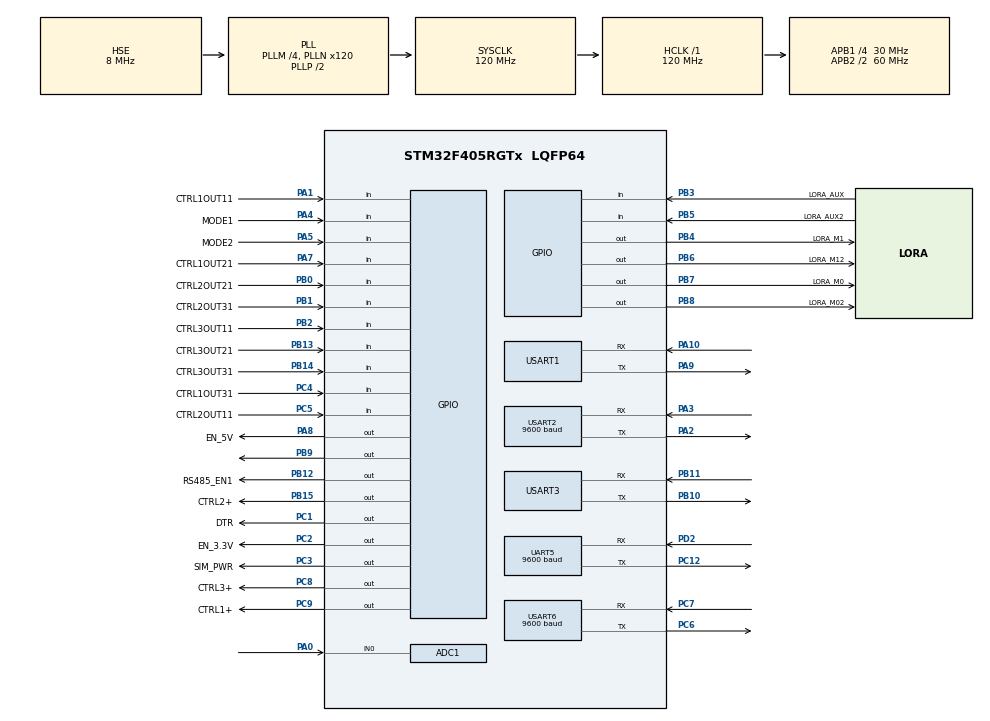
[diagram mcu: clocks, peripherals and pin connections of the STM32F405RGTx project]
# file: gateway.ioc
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ADC1.Channel-0\#ChannelRegularConversion=ADC_CHANNEL_0
ADC1.DiscontinuousConvMode=ENABLE
ADC1.NbrOfConversionFlag=1
ADC1.Rank-0\#ChannelRegularConversion=1
ADC1.SamplingTime-0\#ChannelRegularConversion=ADC_SAMPLETIME_84CYCLES
ADC1.ScanConvMode=ENABLE
ADC1.master=1
Dma.Request0=USART1_RX
Dma.Request1=USART2_RX
Dma.Request2=USART3_RX
Dma.Request3=USART6_RX
Dma.Request4=UART5_RX
Dma.UART5_RX.4.Direction=DMA_PERIPH_TO_MEMORY
Dma.UART5_RX.4.FIFOMode=DMA_FIFOMODE_DISABLE
Dma.UART5_RX.4.Instance=DMA1_Stream0
Dma.UART5_RX.4.MemDataAlignment=DMA_MDATAALIGN_BYTE
Dma.UART5_RX.4.MemInc=DMA_MINC_ENABLE
Dma.UART5_RX.4.Mode=DMA_NORMAL
Dma.UART5_RX.4.PeriphDataAlignment=DMA_PDATAALIGN_BYTE
Dma.UART5_RX.4.PeriphInc=DMA_PINC_DISABLE
Dma.UART5_RX.4.Priority=DMA_PRIORITY_LOW
Dma.USART1_RX.0.Direction=DMA_PERIPH_TO_MEMORY
Dma.USART1_RX.0.FIFOMode=DMA_FIFOMODE_DISABLE
Dma.USART1_RX.0.Instance=DMA2_Stream2
Dma.USART1_RX.0.MemDataAlignment=DMA_MDATAALIGN_BYTE
Dma.USART1_RX.0.MemInc=DMA_MINC_ENABLE
Dma.USART1_RX.0.Mode=DMA_NORMAL
Dma.USART1_RX.0.PeriphDataAlignment=DMA_PDATAALIGN_BYTE
Dma.USART1_RX.0.PeriphInc=DMA_PINC_DISABLE
Dma.USART1_RX.0.Priority=DMA_PRIORITY_LOW
Dma.USART2_RX.1.Direction=DMA_PERIPH_TO_MEMORY
Dma.USART2_RX.1.FIFOMode=DMA_FIFOMODE_DISABLE
Dma.USART2_RX.1.Instance=DMA1_Stream5
Dma.USART2_RX.1.MemDataAlignment=DMA_MDATAALIGN_BYTE
Dma.USART2_RX.1.MemInc=DMA_MINC_ENABLE
Dma.USART2_RX.1.Mode=DMA_NORMAL
Dma.USART2_RX.1.PeriphDataAlignment=DMA_PDATAALIGN_BYTE
Dma.USART2_RX.1.PeriphInc=DMA_PINC_DISABLE
Dma.USART2_RX.1.Priority=DMA_PRIORITY_LOW
Dma.USART3_RX.2.Direction=DMA_PERIPH_TO_MEMORY
Dma.USART3_RX.2.FIFOMode=DMA_FIFOMODE_DISABLE
Dma.USART3_RX.2.Instance=DMA1_Stream1
Dma.USART3_RX.2.MemDataAlignment=DMA_MDATAALIGN_BYTE
Dma.USART3_RX.2.MemInc=DMA_MINC_ENABLE
Dma.USART3_RX.2.Mode=DMA_NORMAL
Dma.USART3_RX.2.PeriphDataAlignment=DMA_PDATAALIGN_BYTE
Dma.USART3_RX.2.PeriphInc=DMA_PINC_DISABLE
Dma.USART3_RX.2.Priority=DMA_PRIORITY_LOW
Dma.USART6_RX.3.Direction=DMA_PERIPH_TO_MEMORY
Dma.USART6_RX.3.FIFOMode=DMA_FIFOMODE_DISABLE
Dma.USART6_RX.3.Instance=DMA2_Stream1
Dma.USART6_RX.3.MemDataAlignment=DMA_MDATAALIGN_BYTE
Dma.USART6_RX.3.MemInc=DMA_MINC_ENABLE
Dma.USART6_RX.3.Mode=DMA_NORMAL
Dma.USART6_RX.3.PeriphDataAlignment=DMA_PDATAALIGN_BYTE
Dma.USART6_RX.3.PeriphInc=DMA_PINC_DISABLE
Dma.USART6_RX.3.Priority=DMA_PRIORITY_LOW
Mcu.Family=STM32F4
Mcu.Name=STM32F405RGTx
Mcu.Package=LQFP64
NVIC.DMA1_Stream0_IRQn=true\:0\:0\:false\:false\:true\:false\:true
NVIC.DMA1_Stream1_IRQn=true\:0\:0\:false\:false\:true\:false\:true
NVIC.DMA1_Stream5_IRQn=true\:0\:0\:false\:false\:true\:false\:true
NVIC.DMA2_Stream1_IRQn=true\:0\:0\:false\:false\:true\:false\:true
NVIC.DMA2_Stream2_IRQn=true\:0\:0\:false\:false\:true\:false\:true
NVIC.PriorityGroup=NVIC_PRIORITYGROUP_4
NVIC.RTC_WKUP_IRQn=true\:0\:0\:false\:false\:true\:true\:true
NVIC.UART5_IRQn=true\:0\:0\:false\:false\:true\:true\:true
NVIC.USART1_IRQn=true\:0\:0\:false\:false\:true\:true\:true
NVIC.USART2_IRQn=true\:0\:0\:false\:false\:true\:true\:true
NVIC.USART3_IRQn=true\:0\:0\:false\:false\:true\:true\:true
NVIC.USART6_IRQn=true\:0\:0\:false\:false\:true\:true\:true
PA0-WKUP.Signal=ADCx_IN0
PA1.GPIO_Label=CTRL1OUT11
PA1.Signal=GPIO_Input
PA10.Mode=Asynchronous
PA10.Signal=USART1_RX
PA13.Mode=Serial_Wire
PA13.Signal=SYS_JTMS-SWDIO
PA14.Mode=Serial_Wire
PA14.Signal=SYS_JTCK-SWCLK
PA2.Mode=Asynchronous
PA2.Signal=USART2_TX
PA3.Mode=Asynchronous
PA3.Signal=USART2_RX
PA4.GPIO_Label=MODE1
PA4.Signal=GPIO_Input
PA5.GPIO_Label=MODE2
PA5.Signal=GPIO_Input
PA7.GPIO_Label=CTRL1OUT21
PA7.Signal=GPIO_Input
PA8.GPIO_Label=EN_5V
PA8.PinState=GPIO_PIN_SET
PA8.Signal=GPIO_Output
PA9.Mode=Asynchronous
PA9.Signal=USART1_TX
PB0.GPIO_Label=CTRL2OUT21
PB0.Signal=GPIO_Input
PB1.GPIO_Label=CTRL2OUT31
PB1.Signal=GPIO_Input
PB10.Mode=Asynchronous
PB10.Signal=USART3_TX
PB11.Mode=Asynchronous
PB11.Signal=USART3_RX
PB12.GPIO_Label=RS485_EN1
PB12.Signal=GPIO_Output
PB13.GPIO_Label=CTRL3OUT21
PB13.Signal=GPIO_Input
PB14.GPIO_Label=CTRL3OUT31
PB14.Signal=GPIO_Input
PB15.GPIO_Label=CTRL2+
PB15.Signal=GPIO_Output
PB2.GPIO_Label=CTRL3OUT11
PB2.Signal=GPIO_Input
PB3.GPIO_Label=LORA_AUX
PB3.GPIO_PuPd=GPIO_PULLUP
PB3.Signal=GPIO_Input
PB4.GPIO_Label=LORA_M1
PB4.PinState=GPIO_PIN_SET
PB4.Signal=GPIO_Output
PB5.GPIO_Label=LORA_AUX2
PB5.GPIO_PuPd=GPIO_PULLUP
PB5.Signal=GPIO_Input
PB6.GPIO_Label=LORA_M12
PB6.PinState=GPIO_PIN_SET
PB6.Signal=GPIO_Output
PB7.GPIO_Label=LORA_M0
PB7.PinState=GPIO_PIN_SET
PB7.Signal=GPIO_Output
PB8.GPIO_Label=LORA_M02
PB8.PinState=GPIO_PIN_SET
PB8.Signal=GPIO_Output
PB9.Signal=GPIO_Output
PC1.GPIO_Label=DTR
PC1.Signal=GPIO_Output
PC12.Mode=Asynchronous
PC12.Signal=UART5_TX
PC14-OSC32_IN.Mode=LSE-External-Oscillator
PC14-OSC32_IN.Signal=RCC_OSC32_IN
PC15-OSC32_OUT.Mode=LSE-External-Oscillator
PC15-OSC32_OUT.Signal=RCC_OSC32_OUT
PC2.GPIO_Label=EN_3.3V
PC2.PinState=GPIO_PIN_SET
PC2.Signal=GPIO_Output
PC3.GPIO_Label=SIM_PWR
PC3.PinState=GPIO_PIN_RESET
PC3.Signal=GPIO_Output
PC4.GPIO_Label=CTRL1OUT31
PC4.Signal=GPIO_Input
PC5.GPIO_Label=CTRL2OUT11
PC5.Signal=GPIO_Input
PC6.Mode=Asynchronous
PC6.Signal=USART6_TX
PC7.Mode=Asynchronous
PC7.Signal=USART6_RX
PC8.GPIO_Label=CTRL3+
PC8.Signal=GPIO_Output
PC9.GPIO_Label=CTRL1+
PC9.Signal=GPIO_Output
PD2.Mode=Asynchronous
PD2.Signal=UART5_RX
PH0-OSC_IN.Mode=HSE-External-Oscillator
PH0-OSC_IN.Signal=RCC_OSC_IN
PH1-OSC_OUT.Mode=HSE-External-Oscillator
PH1-OSC_OUT.Signal=RCC_OSC_OUT
ProjectManager.HeapSize=0x200
ProjectManager.StackSize=0x400
ProjectManager.TargetToolchain=MDK-ARM V5.27
RCC.48MHZClocksFreq_Value=60000000
RCC.AHBFreq_Value=120000000
RCC.APB1CLKDivider=RCC_HCLK_DIV4
RCC.APB1Freq_Value=30000000
RCC.APB1TimFreq_Value=60000000
RCC.APB2CLKDivider=RCC_HCLK_DIV2
RCC.APB2Freq_Value=60000000
RCC.APB2TimFreq_Value=120000000
RCC.CortexFreq_Value=120000000
RCC.HCLKFreq_Value=120000000
RCC.HSE_VALUE=8000000
RCC.HSI_VALUE=16000000
RCC.PLLM=4
RCC.PLLN=120
RCC.PLLSourceVirtual=RCC_PLLSOURCE_HSE
RCC.RCC_RTC_Clock_Source=RCC_RTCCLKSOURCE_LSE
RCC.RCC_RTC_Clock_SourceVirtual=RCC_RTCCLKSOURCE_LSE
RCC.SYSCLKFreq_VALUE=120000000
RCC.SYSCLKSource=RCC_SYSCLKSOURCE_PLLCLK
RCC.VCOOutputFreq_Value=240000000
RTC.SynchPrediv=0x7fff
RTC.WakeUpClock=RTC_WAKEUPCLOCK_CK_SPRE_17BITS
RTC.WakeUpCounter=1
SH.ADCx_IN0.0=ADC1_IN0,IN0
UART5.BaudRate=9600
UART5.VirtualMode=Asynchronous
USART1.VirtualMode=VM_ASYNC
USART2.BaudRate=9600
USART2.VirtualMode=VM_ASYNC
USART3.VirtualMode=VM_ASYNC
USART6.BaudRate=9600
USART6.VirtualMode=VM_ASYNC
VP_RTC_VS_RTC_Activate.Mode=RTC_Enabled
VP_RTC_VS_RTC_WakeUp_intern.Mode=WakeUp
board=custom

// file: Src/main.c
/* USER CODE BEGIN Header */
/**
  ******************************************************************************
  * @file           : main.c
  * @brief          : Main program body
  ******************************************************************************
  * @attention
  *
  * <h2><center>&copy; Copyright (c) 2020 STMicroelectronics.
  * All rights reserved.</center></h2>
  *
  * This software component is licensed by ST under BSD 3-Clause license,
  * the "License"; You may not use this file except in compliance with the
  * License. You may obtain a copy of the License at:
  *                        opensource.org/licenses/BSD-3-Clause
  *
  ******************************************************************************
  */
/* USER CODE END Header */

#include "main.h"

/* USER CODE BEGIN Includes */
#include "loraHAL.h"
#include "loraHW.h"
#include "nbiotHW.h"
#include "sensor.h"
#include "rtc.h"
#include "gps.h"
#include "loraHW.h"
#include "rtc.h"
#include "register.h"
#include "Protocol_C.h"
/* USER CODE END Includes */

ADC_HandleTypeDef hadc1;

RTC_HandleTypeDef hrtc;

UART_HandleTypeDef huart5;
UART_HandleTypeDef huart1;
UART_HandleTypeDef huart2;
UART_HandleTypeDef huart3;
UART_HandleTypeDef huart6;
DMA_HandleTypeDef hdma_uart5_rx;
DMA_HandleTypeDef hdma_usart1_rx;
DMA_HandleTypeDef hdma_usart2_rx;
DMA_HandleTypeDef hdma_usart3_rx;
DMA_HandleTypeDef hdma_usart6_rx;

void SystemClock_Config(void);
static void MX_GPIO_Init(void);
static void MX_DMA_Init(void);
static void MX_ADC1_Init(void);
static void MX_UART5_Init(void);
static void MX_USART1_UART_Init(void);
static void MX_USART2_UART_Init(void);
static void MX_USART3_UART_Init(void);
static void MX_USART6_UART_Init(void);
static void MX_RTC_Init(void);
/* USER CODE BEGIN PFP */
extern loraUart_stru loraUart;
extern  LORAHW_stru lorahw;
/* USER CODE END PFP */

int main(void)
{

  /* MCU Configuration--------------------------------------------------------*/

  /* Reset of all peripherals, Initializes the Flash interface and the Systick. */
  HAL_Init();

  /* Configure the system clock */
  SystemClock_Config();

  /* Initialize all configured peripherals */
  MX_GPIO_Init();
  MX_DMA_Init();
  MX_ADC1_Init();
  MX_UART5_Init();
  MX_USART1_UART_Init();
  MX_USART2_UART_Init();
  MX_USART3_UART_Init();
  MX_USART6_UART_Init();
  MX_RTC_Init();
  /* USER CODE BEGIN 2 */

    gps_uart_Init();
    LoraUartInit();

    ParamsInit();
    RTC_Init();
    ProctocolInit();
    loraModuleInit();
#if DEBUG == 1

#endif
#if DEBUG == 0
    while(loraUart.receivedFlag1 != 1)
        ;
    {
        loraUart.receivedFlag1 = 0;
        lorahw.mode =TransmitMode;
        loraGpioset(&lorahw);
        lorahw.mode =TransmitMode;
    }
		HAL_Delay(5000);
    if(ROLE != GATEWAY)
    {
        //test();
        equipCtrlNbiot();
    }

//	while(gps_powerON()==1)
		;

    wirelessTimoutStart(1);//主动上报模式超时计时标志位
#endif
#if DEBUG == 1
    HAL_Delay(3000);
#endif

    // gps_powerON();

  /* USER CODE END 2 */

  /* Infinite loop */
    while (1)
    {

    /* USER CODE BEGIN 3 */
#if DEBUG == 0
        EquipGateway_Process();

        static  uint32_t tick;
        if(ROLE == GATEWAY)
        {
            if((HAL_GetTick()-tick)>=300)
            {
                tick = HAL_GetTick();
                HAL_GPIO_TogglePin(GPIOB, GPIO_PIN_9);
            }
        }
        else
        {
            if((HAL_GetTick()-tick)>=1000)
            {
                tick = HAL_GetTick();
                HAL_GPIO_TogglePin(GPIOB, GPIO_PIN_9);
            }
        }

#endif
        //#if DEBUG == 1
        //  EnterStop();
        //	 goto start;
        //#endif
    }
  /* USER CODE END 3 */
}

void SystemClock_Config(void)
{
  RCC_OscInitTypeDef RCC_OscInitStruct = {0};
  RCC_ClkInitTypeDef RCC_ClkInitStruct = {0};
  RCC_PeriphCLKInitTypeDef PeriphClkInitStruct = {0};

  /** Configure the main internal regulator output voltage
  */
  __HAL_RCC_PWR_CLK_ENABLE();
  __HAL_PWR_VOLTAGESCALING_CONFIG(PWR_REGULATOR_VOLTAGE_SCALE1);
  /** Initializes the CPU, AHB and APB busses clocks
  */
  RCC_OscInitStruct.OscillatorType = RCC_OSCILLATORTYPE_HSE|RCC_OSCILLATORTYPE_LSE;
  RCC_OscInitStruct.HSEState = RCC_HSE_ON;
  RCC_OscInitStruct.LSEState = RCC_LSE_ON;
  RCC_OscInitStruct.PLL.PLLState = RCC_PLL_ON;
  RCC_OscInitStruct.PLL.PLLSource = RCC_PLLSOURCE_HSE;
  RCC_OscInitStruct.PLL.PLLM = 4;
  RCC_OscInitStruct.PLL.PLLN = 120;
  RCC_OscInitStruct.PLL.PLLP = RCC_PLLP_DIV2;
  RCC_OscInitStruct.PLL.PLLQ = 4;
  if (HAL_RCC_OscConfig(&RCC_OscInitStruct) != HAL_OK)
  {
    Error_Handler();
  }
  /** Initializes the CPU, AHB and APB busses clocks
  */
  RCC_ClkInitStruct.ClockType = RCC_CLOCKTYPE_HCLK|RCC_CLOCKTYPE_SYSCLK
                              |RCC_CLOCKTYPE_PCLK1|RCC_CLOCKTYPE_PCLK2;
  RCC_ClkInitStruct.SYSCLKSource = RCC_SYSCLKSOURCE_PLLCLK;
  RCC_ClkInitStruct.AHBCLKDivider = RCC_SYSCLK_DIV1;
  RCC_ClkInitStruct.APB1CLKDivider = RCC_HCLK_DIV4;
  RCC_ClkInitStruct.APB2CLKDivider = RCC_HCLK_DIV2;

  if (HAL_RCC_ClockConfig(&RCC_ClkInitStruct, FLASH_LATENCY_3) != HAL_OK)
  {
    Error_Handler();
  }
  PeriphClkInitStruct.PeriphClockSelection = RCC_PERIPHCLK_RTC;
  PeriphClkInitStruct.RTCClockSelection = RCC_RTCCLKSOURCE_LSE;
  if (HAL_RCCEx_PeriphCLKConfig(&PeriphClkInitStruct) != HAL_OK)
  {
    Error_Handler();
  }
}

static void MX_ADC1_Init(void)
{

  ADC_ChannelConfTypeDef sConfig = {0};

  /** Configure the global features of the ADC (Clock, Resolution, Data Alignment and number of conversion)
  */
  hadc1.Instance = ADC1;
  hadc1.Init.ClockPrescaler = ADC_CLOCK_SYNC_PCLK_DIV2;
  hadc1.Init.Resolution = ADC_RESOLUTION_12B;
  hadc1.Init.ScanConvMode = ENABLE;
  hadc1.Init.ContinuousConvMode = DISABLE;
  hadc1.Init.DiscontinuousConvMode = ENABLE;
  hadc1.Init.NbrOfDiscConversion = 1;
  hadc1.Init.ExternalTrigConvEdge = ADC_EXTERNALTRIGCONVEDGE_NONE;
  hadc1.Init.ExternalTrigConv = ADC_SOFTWARE_START;
  hadc1.Init.DataAlign = ADC_DATAALIGN_RIGHT;
  hadc1.Init.NbrOfConversion = 1;
  hadc1.Init.DMAContinuousRequests = DISABLE;
  hadc1.Init.EOCSelection = ADC_EOC_SINGLE_CONV;
  if (HAL_ADC_Init(&hadc1) != HAL_OK)
  {
    Error_Handler();
  }
  /** Configure for the selected ADC regular channel its corresponding rank in the sequencer and its sample time.
  */
  sConfig.Channel = ADC_CHANNEL_0;
  sConfig.Rank = 1;
  sConfig.SamplingTime = ADC_SAMPLETIME_84CYCLES;
  if (HAL_ADC_ConfigChannel(&hadc1, &sConfig) != HAL_OK)
  {
    Error_Handler();
  }

}

static void MX_RTC_Init(void)
{

  RTC_TimeTypeDef sTime = {0};
  RTC_DateTypeDef sDate = {0};

  /** Initialize RTC Only
  */
  hrtc.Instance = RTC;
  hrtc.Init.HourFormat = RTC_HOURFORMAT_24;
  hrtc.Init.AsynchPrediv = 127;
  hrtc.Init.SynchPrediv = 0x7fff;
  hrtc.Init.OutPut = RTC_OUTPUT_DISABLE;
  hrtc.Init.OutPutPolarity = RTC_OUTPUT_POLARITY_HIGH;
  hrtc.Init.OutPutType = RTC_OUTPUT_TYPE_OPENDRAIN;
  if (HAL_RTC_Init(&hrtc) != HAL_OK)
  {
    Error_Handler();
  }

  /** Initialize RTC and set the Time and Date
  */
  sTime.Hours = 0x0;
  sTime.Minutes = 0x0;
  sTime.Seconds = 0x0;
  sTime.DayLightSaving = RTC_DAYLIGHTSAVING_NONE;
  sTime.StoreOperation = RTC_STOREOPERATION_RESET;
  if (HAL_RTC_SetTime(&hrtc, &sTime, RTC_FORMAT_BCD) != HAL_OK)
  {
    Error_Handler();
  }
  sDate.WeekDay = RTC_WEEKDAY_MONDAY;
  sDate.Month = RTC_MONTH_JANUARY;
  sDate.Date = 0x1;
  sDate.Year = 0x0;

  if (HAL_RTC_SetDate(&hrtc, &sDate, RTC_FORMAT_BCD) != HAL_OK)
  {
    Error_Handler();
  }
  /** Enable the WakeUp
  */
  if (HAL_RTCEx_SetWakeUpTimer_IT(&hrtc, 1, RTC_WAKEUPCLOCK_CK_SPRE_17BITS) != HAL_OK)
  {
    Error_Handler();
  }

}

static void MX_UART5_Init(void)
{

  huart5.Instance = UART5;
  huart5.Init.BaudRate = 9600;
  huart5.Init.WordLength = UART_WORDLENGTH_8B;
  huart5.Init.StopBits = UART_STOPBITS_1;
  huart5.Init.Parity = UART_PARITY_NONE;
  huart5.Init.Mode = UART_MODE_TX_RX;
  huart5.Init.HwFlowCtl = UART_HWCONTROL_NONE;
  huart5.Init.OverSampling = UART_OVERSAMPLING_16;
  if (HAL_UART_Init(&huart5) != HAL_OK)
  {
    Error_Handler();
  }

}

static void MX_USART1_UART_Init(void)
{

  huart1.Instance = USART1;
  huart1.Init.BaudRate = 115200;
  huart1.Init.WordLength = UART_WORDLENGTH_8B;
  huart1.Init.StopBits = UART_STOPBITS_1;
  huart1.Init.Parity = UART_PARITY_NONE;
  huart1.Init.Mode = UART_MODE_TX_RX;
  huart1.Init.HwFlowCtl = UART_HWCONTROL_NONE;
  huart1.Init.OverSampling = UART_OVERSAMPLING_16;
  if (HAL_UART_Init(&huart1) != HAL_OK)
  {
    Error_Handler();
  }

}

static void MX_USART2_UART_Init(void)
{

  huart2.Instance = USART2;
  huart2.Init.BaudRate = 9600;
  huart2.Init.WordLength = UART_WORDLENGTH_8B;
  huart2.Init.StopBits = UART_STOPBITS_1;
  huart2.Init.Parity = UART_PARITY_NONE;
  huart2.Init.Mode = UART_MODE_TX_RX;
  huart2.Init.HwFlowCtl = UART_HWCONTROL_NONE;
  huart2.Init.OverSampling = UART_OVERSAMPLING_16;
  if (HAL_UART_Init(&huart2) != HAL_OK)
  {
    Error_Handler();
  }

}

static void MX_USART3_UART_Init(void)
{

  huart3.Instance = USART3;
  huart3.Init.BaudRate = 115200;
  huart3.Init.WordLength = UART_WORDLENGTH_8B;
  huart3.Init.StopBits = UART_STOPBITS_1;
  huart3.Init.Parity = UART_PARITY_NONE;
  huart3.Init.Mode = UART_MODE_TX_RX;
  huart3.Init.HwFlowCtl = UART_HWCONTROL_NONE;
  huart3.Init.OverSampling = UART_OVERSAMPLING_16;
  if (HAL_UART_Init(&huart3) != HAL_OK)
  {
    Error_Handler();
  }

}

static void MX_USART6_UART_Init(void)
{

  huart6.Instance = USART6;
  huart6.Init.BaudRate = 9600;
  huart6.Init.WordLength = UART_WORDLENGTH_8B;
  huart6.Init.StopBits = UART_STOPBITS_1;
  huart6.Init.Parity = UART_PARITY_NONE;
  huart6.Init.Mode = UART_MODE_TX_RX;
  huart6.Init.HwFlowCtl = UART_HWCONTROL_NONE;
  huart6.Init.OverSampling = UART_OVERSAMPLING_16;
  if (HAL_UART_Init(&huart6) != HAL_OK)
  {
    Error_Handler();
  }

}

static void MX_DMA_Init(void)
{

  /* DMA controller clock enable */
  __HAL_RCC_DMA2_CLK_ENABLE();
  __HAL_RCC_DMA1_CLK_ENABLE();

  /* DMA interrupt init */
  /* DMA1_Stream0_IRQn interrupt configuration */
  HAL_NVIC_SetPriority(DMA1_Stream0_IRQn, 0, 0);
  HAL_NVIC_EnableIRQ(DMA1_Stream0_IRQn);
  /* DMA1_Stream1_IRQn interrupt configuration */
  HAL_NVIC_SetPriority(DMA1_Stream1_IRQn, 0, 0);
  HAL_NVIC_EnableIRQ(DMA1_Stream1_IRQn);
  /* DMA1_Stream5_IRQn interrupt configuration */
  HAL_NVIC_SetPriority(DMA1_Stream5_IRQn, 0, 0);
  HAL_NVIC_EnableIRQ(DMA1_Stream5_IRQn);
  /* DMA2_Stream1_IRQn interrupt configuration */
  HAL_NVIC_SetPriority(DMA2_Stream1_IRQn, 0, 0);
  HAL_NVIC_EnableIRQ(DMA2_Stream1_IRQn);
  /* DMA2_Stream2_IRQn interrupt configuration */
  HAL_NVIC_SetPriority(DMA2_Stream2_IRQn, 0, 0);
  HAL_NVIC_EnableIRQ(DMA2_Stream2_IRQn);

}

static void MX_GPIO_Init(void)
{
  GPIO_InitTypeDef GPIO_InitStruct = {0};

  /* GPIO Ports Clock Enable */
  __HAL_RCC_GPIOC_CLK_ENABLE();
  __HAL_RCC_GPIOH_CLK_ENABLE();
  __HAL_RCC_GPIOA_CLK_ENABLE();
  __HAL_RCC_GPIOB_CLK_ENABLE();
  __HAL_RCC_GPIOD_CLK_ENABLE();

  /*Configure GPIO pin Output Level */
  HAL_GPIO_WritePin(GPIOC, DTR_Pin|SIM_PWR_Pin|CTRL3__Pin|CTRL1__Pin, GPIO_PIN_RESET);

  /*Configure GPIO pin Output Level */
  HAL_GPIO_WritePin(EN_3_3V_GPIO_Port, EN_3_3V_Pin, GPIO_PIN_SET);

  /*Configure GPIO pin Output Level */
  HAL_GPIO_WritePin(GPIOB, RS485_EN1_Pin|CTRL2__Pin|GPIO_PIN_9, GPIO_PIN_RESET);

  /*Configure GPIO pin Output Level */
  HAL_GPIO_WritePin(EN_5V_GPIO_Port, EN_5V_Pin, GPIO_PIN_SET);

  /*Configure GPIO pin Output Level */
  HAL_GPIO_WritePin(GPIOB, LORA_M1_Pin|LORA_M12_Pin|LORA_M0_Pin|LORA_M02_Pin, GPIO_PIN_SET);

  /*Configure GPIO pins : DTR_Pin EN_3_3V_Pin SIM_PWR_Pin CTRL3__Pin
                           CTRL1__Pin */
  GPIO_InitStruct.Pin = DTR_Pin|EN_3_3V_Pin|SIM_PWR_Pin|CTRL3__Pin
                          |CTRL1__Pin;
  GPIO_InitStruct.Mode = GPIO_MODE_OUTPUT_PP;
  GPIO_InitStruct.Pull = GPIO_NOPULL;
  GPIO_InitStruct.Speed = GPIO_SPEED_FREQ_LOW;
  HAL_GPIO_Init(GPIOC, &GPIO_InitStruct);

  /*Configure GPIO pins : CTRL1OUT11_Pin MODE1_Pin MODE2_Pin CTRL1OUT21_Pin */
  GPIO_InitStruct.Pin = CTRL1OUT11_Pin|MODE1_Pin|MODE2_Pin|CTRL1OUT21_Pin;
  GPIO_InitStruct.Mode = GPIO_MODE_INPUT;
  GPIO_InitStruct.Pull = GPIO_NOPULL;
  HAL_GPIO_Init(GPIOA, &GPIO_InitStruct);

  /*Configure GPIO pins : CTRL1OUT31_Pin CTRL2OUT11_Pin */
  GPIO_InitStruct.Pin = CTRL1OUT31_Pin|CTRL2OUT11_Pin;
  GPIO_InitStruct.Mode = GPIO_MODE_INPUT;
  GPIO_InitStruct.Pull = GPIO_NOPULL;
  HAL_GPIO_Init(GPIOC, &GPIO_InitStruct);

  /*Configure GPIO pins : CTRL2OUT21_Pin CTRL2OUT31_Pin CTRL3OUT11_Pin CTRL3OUT21_Pin
                           CTRL3OUT31_Pin */
  GPIO_InitStruct.Pin = CTRL2OUT21_Pin|CTRL2OUT31_Pin|CTRL3OUT11_Pin|CTRL3OUT21_Pin
                          |CTRL3OUT31_Pin;
  GPIO_InitStruct.Mode = GPIO_MODE_INPUT;
  GPIO_InitStruct.Pull = GPIO_NOPULL;
  HAL_GPIO_Init(GPIOB, &GPIO_InitStruct);

  /*Configure GPIO pins : RS485_EN1_Pin CTRL2__Pin LORA_M1_Pin LORA_M12_Pin
                           LORA_M0_Pin LORA_M02_Pin PB9 */
  GPIO_InitStruct.Pin = RS485_EN1_Pin|CTRL2__Pin|LORA_M1_Pin|LORA_M12_Pin
                          |LORA_M0_Pin|LORA_M02_Pin|GPIO_PIN_9;
  GPIO_InitStruct.Mode = GPIO_MODE_OUTPUT_PP;
  GPIO_InitStruct.Pull = GPIO_NOPULL;
  GPIO_InitStruct.Speed = GPIO_SPEED_FREQ_LOW;
  HAL_GPIO_Init(GPIOB, &GPIO_InitStruct);

  /*Configure GPIO pin : EN_5V_Pin */
  GPIO_InitStruct.Pin = EN_5V_Pin;
  GPIO_InitStruct.Mode = GPIO_MODE_OUTPUT_PP;
  GPIO_InitStruct.Pull = GPIO_NOPULL;
  GPIO_InitStruct.Speed = GPIO_SPEED_FREQ_LOW;
  HAL_GPIO_Init(EN_5V_GPIO_Port, &GPIO_InitStruct);

  /*Configure GPIO pins : LORA_AUX_Pin LORA_AUX2_Pin */
  GPIO_InitStruct.Pin = LORA_AUX_Pin|LORA_AUX2_Pin;
  GPIO_InitStruct.Mode = GPIO_MODE_INPUT;
  GPIO_InitStruct.Pull = GPIO_PULLUP;
  HAL_GPIO_Init(GPIOB, &GPIO_InitStruct);

}

void Error_Handler(void)
{
}

/************************ (C) COPYRIGHT STMicroelectronics *****END OF FILE****/
